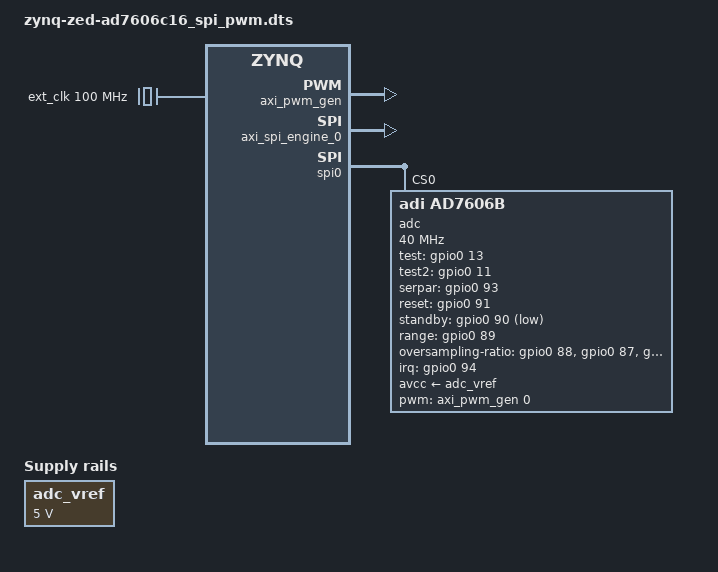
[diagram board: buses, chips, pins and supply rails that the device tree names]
// SPDX-License-Identifier: GPL-2.0
/*
 * Analog Devices AD7606C
 * https://www.analog.com/en/products/ad7606c-18.html
 * https://wiki.analog.com/resources/tools-software/linux-drivers/platforms/zynq
 *
 * hdl_project: <ad760x_fmc/zed>
 * board_revision: <>
 *
 * Copyright (C) 2012-2019 Analog Devices Inc.
 */
/dts-v1/;

#include <dt-bindings/gpio/gpio.h>
#include <dt-bindings/interrupt-controller/irq.h>
#include "zynq-zed.dtsi"
#include "zynq-zed-adv7511.dtsi"

/ {
	adc_vref: regulator-vref {
		compatible = "regulator-fixed";
		regulator-name = "fixed-supply";
		regulator-min-microvolt = <5000000>;
		regulator-max-microvolt = <5000000>;
		regulator-always-on;
	};

	clocks {
		ext_clk: clock@0 {
			#clock-cells = <0>;
			compatible = "fixed-clock";
			clock-frequency = <100000000>;
		};
	};
};

&fpga_axi {
	rx_dma: rx-dmac@44a30000 {
		compatible = "adi,axi-dmac-1.00.a";
		reg = <0x44a30000 0x1000>;
		#dma-cells = <1>;
		interrupt-parent = <&intc>;
		interrupts = <0 57 IRQ_TYPE_LEVEL_HIGH>;
		clocks = <&clkc 16>;

		adi,channels {
			#size-cells = <0>;
			#address-cells = <1>;

			dma-channel@0 {
				reg = <0>;
				adi,source-bus-width = <256>;
				adi,source-bus-type = <1>;
				adi,destination-bus-width = <64>;
				adi,destination-bus-type = <0>;
			};
		};
	};

	axi_pwm_gen: pwm@0x44b00000 {
		compatible = "adi,axi-pwmgen-2.00.a";
		reg = <0x44b00000 0x1000>;
		#pwm-cells = <2>;
		clocks = <&ext_clk>;
	};

	spi_clk: axi-clkgen@0x44a70000 {
		compatible = "adi,axi-clkgen-2.00.a";
		reg = <0x44a70000 0x10000>;
		#clock-cells = <0>;
		clocks = <&clkc 15>, <&clkc 15>;
		clock-names = "s_axi_aclk", "clkin1";
		clock-output-names = "spi_clk";
	};

	axi_spi_engine_0: spi@44a00000 {
		compatible = "adi,axi-spi-engine-1.00.a";
		reg = <0x44a00000 0x1000>;
		interrupt-parent = <&intc>;
		interrupts = <0 56 IRQ_TYPE_LEVEL_HIGH>;
		clock-names = "s_axi_aclk", "spi_clk";
		clocks = <&clkc 15 &spi_clk>;
		num-cs = <1>;

		#address-cells = <0x1>;
		#size-cells = <0x0>;

	};
};

&spi0 {
	status = "okay";
		adc@0 {
			#address-cells = <1>;
			#size-cells = <0>;
			compatible = "adi,ad7606b";
			reg = <0>;

			spi-max-frequency = <40000000>;
			/*spi-cpha;*/
			spi-cpol;

			interrupts = <94 IRQ_TYPE_EDGE_FALLING>;
			interrupt-parent = <&gpio0>;
			clocks = <&spi_clk>;
			clock-names = "ref_clk";

			dmas = <&rx_dma 0>;
			dma-names = "rx";


			avcc-supply = <&adc_vref>;
			pwms = <&axi_pwm_gen 0 0>;
			pwm-names = "cnvst_n";


//			adi,conversion-start-gpios = <&gpio0 94 GPIO_ACTIVE_HIGH>;
			adi,test-gpios = <&gpio0 13 GPIO_ACTIVE_HIGH>;
			adi,test2-gpios = <&gpio0 11 GPIO_ACTIVE_HIGH>;
			adi,serpar-gpios = <&gpio0 93 GPIO_ACTIVE_HIGH>;
			reset-gpios = <&gpio0 91 GPIO_ACTIVE_HIGH>;
			standby-gpios = <&gpio0 90 GPIO_ACTIVE_LOW>;
			adi,range-gpios = <&gpio0 89 GPIO_ACTIVE_HIGH>;
			adi,oversampling-ratio-gpios = <&gpio0 88 GPIO_ACTIVE_HIGH
											&gpio0 87 GPIO_ACTIVE_HIGH
											&gpio0 86 GPIO_ACTIVE_HIGH>;
			/*adi,sw-mode;*/
		};
	};
/*
};*/
